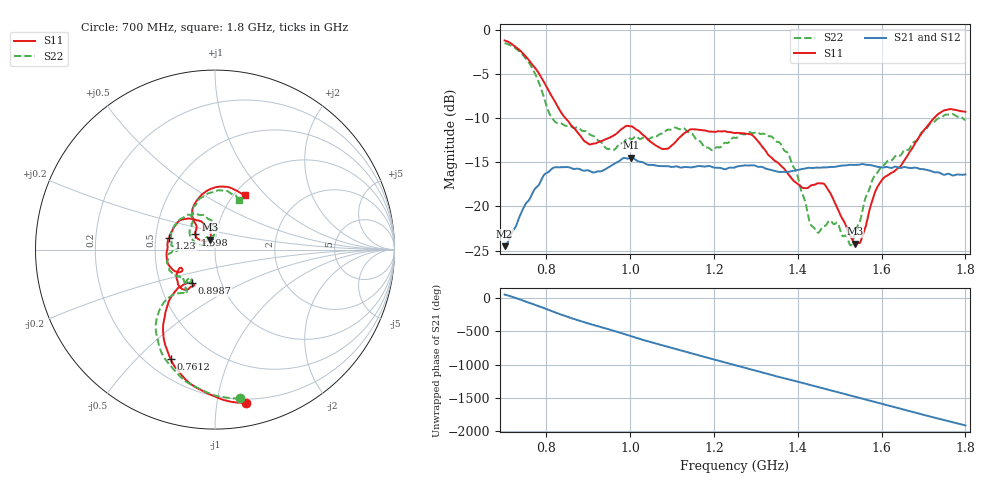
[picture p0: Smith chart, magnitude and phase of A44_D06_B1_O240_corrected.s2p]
! Created with skrf 1.9.0 (http://scikit-rf.org).
# Hz S RI R 50.0
!freq ReS11 ImS11 ReS21 ImS21 ReS12 ImS12 ReS22 ImS22
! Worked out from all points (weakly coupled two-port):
!   1601 points, 700 MHz to 1.8 GHz, reference 50 ohm
!   highest |S21| = -14.49 dB at 1.002 GHz (marker M1); lowest = -24.5 dB at 700 MHz (marker M2)
!   lowest |S11| = -24.2 dB at 1.537 GHz (marker M3), VSWR 1.13, Z = 47.1 + j5.22 ohm
!   |S11| at or under -10 dB: 845.6 MHz to 1.725 GHz (879.3 MHz wide, 68.4 % of centre)
!   |S22| runs from -24.4 to -1.5 dB; largest |S21 - S12| = 0.0034
!   S11 on the Smith chart (normalised r, x): 700 MHz: 0.17, -1.21; 761.2 MHz: 0.29, -0.63; 898.7 MHz: 0.72, -0.28; 1.23 GHz: 0.59, +0.08; 1.598 GHz: 0.79, +0.14; 1.8 GHz: 1.12, +0.77
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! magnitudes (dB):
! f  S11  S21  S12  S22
! 700 MHz  -1.2  -24.5  -24.3  -1.5
! 761.2 MHz  -3.6  -19.0  -18.9  -3.9
! 816.2 MHz  -7.8  -15.6  -15.7  -10.2
! 883.6 MHz  -12.2  -15.9  -15.8  -11.4
! 898.7 MHz  -12.9  -15.9  -16.0  -11.7
! 947.5 MHz  -12.3  -15.6  -15.6  -13.5
! 1.002 GHz  -10.9  -14.5  -14.6  -12.4
! 1.067 GHz  -13.2  -15.4  -15.4  -11.9
! 1.145 GHz  -11.3  -15.6  -15.6  -11.7
! 1.23 GHz  -11.5  -15.7  -15.6  -12.8
! 1.25 GHz  -11.7  -15.6  -15.5  -12.2
! 1.358 GHz  -15.3  -16.1  -16.1  -12.8
! 1.396 GHz  -17.3  -15.9  -15.9  -16.0
! 1.434 GHz  -17.6  -15.7  -15.6  -22.2
! 1.467 GHz  -17.7  -15.6  -15.6  -22.1
! 1.526 GHz  -23.4  -15.3  -15.3  -24.4
! 1.537 GHz  -24.2  -15.3  -15.3  -23.0
! 1.552 GHz  -23.7  -15.2  -15.2  -21.0
! 1.598 GHz  -17.2  -15.6  -15.5  -15.6
! 1.617 GHz  -16.4  -15.6  -15.5  -14.8
! 1.734 GHz  -9.6  -16.1  -16.2  -10.1
! 1.8 GHz  -9.3  -16.4  -16.4  -10.2
